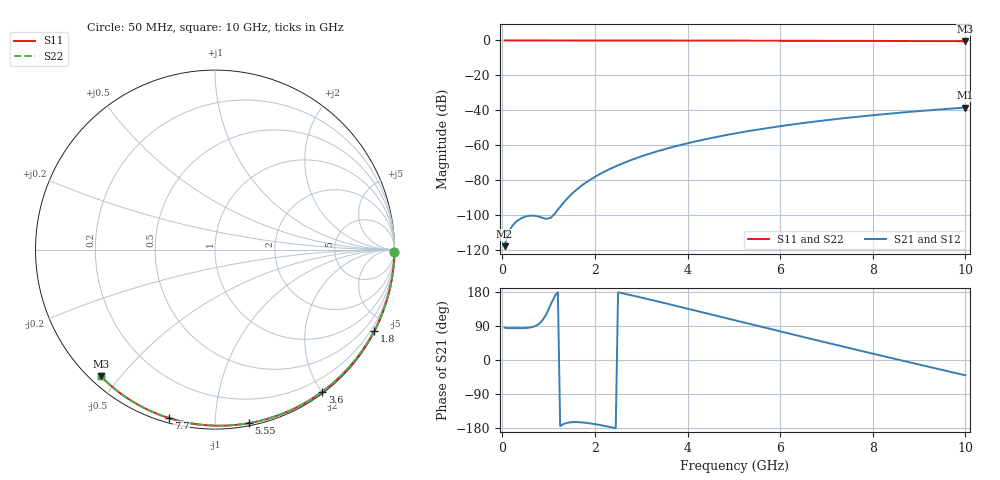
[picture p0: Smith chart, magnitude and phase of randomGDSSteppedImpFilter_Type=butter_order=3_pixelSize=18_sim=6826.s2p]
! freq	dB(S11)	phase(S11)	dB(S12)	phase(S12)
!  dB(S21)	phase(S21)	dB(S22)	phase(S22)
!S-par simulation data
#  GHz  S  DB  R 50
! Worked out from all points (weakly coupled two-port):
!   200 points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, 50 MHz to 10 GHz, reference 50 ohm
!   highest |S21| = -38.38 dB at 10 GHz (marker M1); lowest = -117.6 dB at 50 MHz (marker M2)
!   lowest |S11| = -0.4 dB at 10 GHz (marker M3), VSWR 39.01, Z = 1.54 - j22.3 ohm
!   |S11| at or under -10 dB: nowhere
!   |S22| runs from -0.4 to 0.0 dB; largest |S21 - S12| = 0
!   S11 on the Smith chart (normalised r, x): 50 MHz: open; 1.8 GHz: 0.04, -4.16; 3.6 GHz: 0.02, -2.01; 5.55 GHz: 0.02, -1.21; 7.7 GHz: 0.02, -0.76; 10 GHz: 0.03, -0.45
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0.05  -0.00 -0.8  -117.63 85.3  -117.63 85.3  -0.00 -0.8
0.9  -0.02 -13.6  -101.69 110.8  -101.69 110.8  -0.02 -13.6
1.75  -0.03 -26.3  -82.29 -165.0  -82.29 -165.0  -0.03 -26.3
1.8  -0.03 -27.0  -81.35 -165.6  -81.35 -165.6  -0.03 -27.0
1.85  -0.04 -27.8  -80.46 -166.4  -80.46 -166.4  -0.04 -27.8
1.9  -0.04 -28.5  -79.61 -167.3  -79.61 -167.3  -0.04 -28.5
2.05  -0.04 -30.7  -77.23 -170.3  -77.23 -170.3  -0.04 -30.7
2.25  -0.04 -33.6  -74.42 -174.9  -74.42 -174.9  -0.04 -33.6
2.45  -0.05 -36.5  -71.94 -180.0  -71.94 -180.0  -0.05 -36.5
2.65  -0.05 -39.4  -69.72 174.7  -69.72 174.7  -0.05 -39.4
3  -0.06 -44.4  -66.31 164.9  -66.31 164.9  -0.06 -44.4
3.4  -0.07 -50.1  -62.98 153.2  -62.98 153.2  -0.07 -50.1
3.6  -0.07 -52.9  -61.49 147.3  -61.49 147.3  -0.07 -52.9
4.3  -0.09 -62.5  -56.98 126.5  -56.98 126.5  -0.09 -62.5
5.05  -0.11 -72.5  -53.05 103.9  -53.05 103.9  -0.11 -72.5
5.55  -0.13 -79.0  -50.82 89.0  -50.82 89.0  -0.13 -79.0
6.1  -0.15 -85.9  -48.65 72.5  -48.65 72.5  -0.15 -85.9
6.7  -0.18 -93.4  -46.55 54.8  -46.55 54.8  -0.18 -93.4
7.7  -0.24 -105.4  -43.56 25.4  -43.56 25.4  -0.24 -105.4
8.35  -0.29 -113.1  -41.88 6.6  -41.88 6.6  -0.29 -113.1
9.15  -0.36 -122.3  -40.07 -16.3  -40.07 -16.3  -0.36 -122.3
10  -0.45 -131.9  -38.38 -40.4  -38.38 -40.4  -0.45 -131.9
